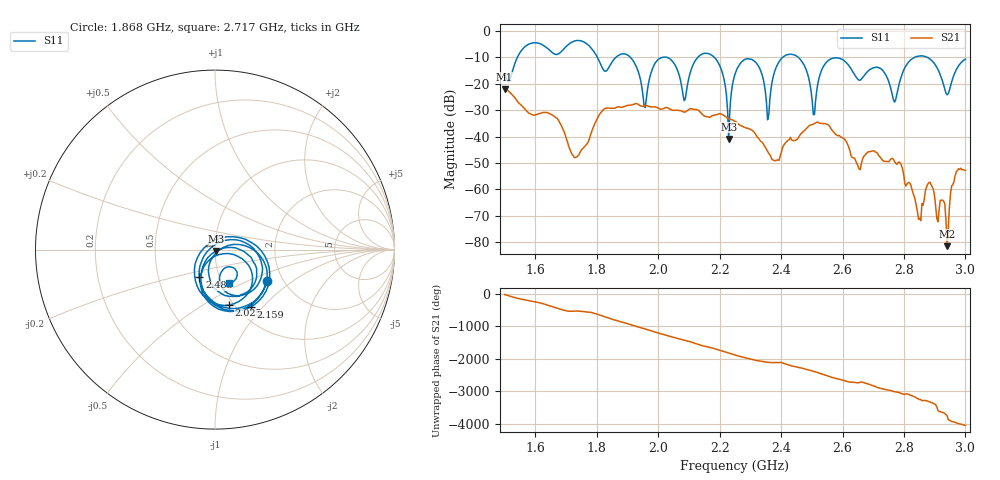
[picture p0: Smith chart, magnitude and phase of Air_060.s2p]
# HZ S RI R 50
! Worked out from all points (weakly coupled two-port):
!   404 points, 1.5 GHz to 3 GHz, reference 50 ohm
!   highest |S21| = -22.12 dB at 1.5 GHz (marker M1); lowest = -81.5 dB at 2.94 GHz (marker M2)
!   lowest |S11| = -41.0 dB at 2.23 GHz (marker M3), VSWR 1.02, Z = 50.4 - j0.779 ohm
!   |S11| at or under -10 dB: 2.183 GHz to 2.405 GHz (222.7 MHz wide, 9.71 % of centre); 2.456 GHz to 2.835 GHz (378.6 MHz wide, 14.3 % of centre); 2.875 GHz to end of sweep (the widest 3 of 7)
!   S12 and S22 are empty: the file has one direction only
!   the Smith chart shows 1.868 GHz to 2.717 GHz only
!   S11 on the Smith chart (normalised r, x): 1.868 GHz: 1.65, -0.65; 2.025 GHz: 0.95, -0.66; 2.159 GHz: 1.15, -0.86; 2.483 GHz: 0.80, -0.26; 2.717 GHz: 1.09, -0.42
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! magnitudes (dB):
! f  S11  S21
! 1.5 GHz  -16.3  -22.1
! 1.753 GHz  -3.9  -44.6
! 1.868 GHz  -9.4  -28.8
! 1.958 GHz  -29.0  -28.3
! 2.002 GHz  -10.6  -29.4
! 2.025 GHz  -9.9  -29.0
! 2.084 GHz  -26.4  -30.8
! 2.159 GHz  -8.5  -32.5
! 2.23 GHz  -41.0  -33.3
! 2.252 GHz  -15.8  -34.4
! 2.315 GHz  -11.7  -38.8
! 2.356 GHz  -33.7  -45.6
! 2.378 GHz  -15.6  -49.2
! 2.483 GHz  -15.0  -36.9
! 2.501 GHz  -26.4  -35.5
! 2.561 GHz  -10.7  -36.7
! 2.717 GHz  -13.9  -47.1
! 2.751 GHz  -19.3  -49.6
! 2.862 GHz  -9.5  -66.1
! 2.885 GHz  -10.7  -57.3
! 2.94 GHz  -24.2  -81.5
! 3 GHz  -10.7  -52.9
